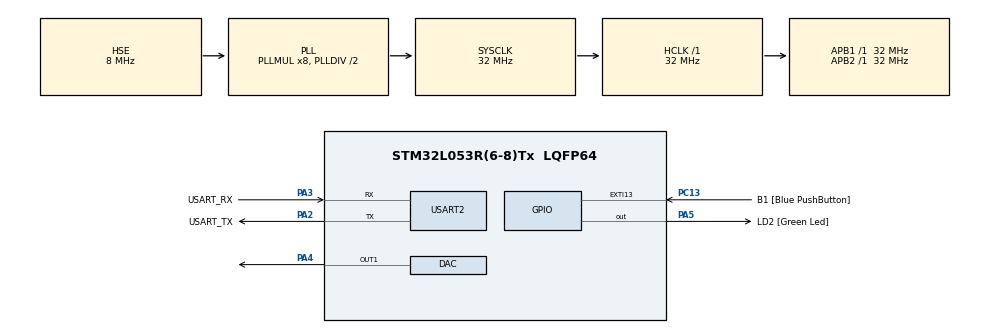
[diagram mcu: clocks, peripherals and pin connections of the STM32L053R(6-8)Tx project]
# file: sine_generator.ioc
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DAC.DAC_Trigger=DAC_TRIGGER_T2_TRGO
Dma.DAC_CH1.0.Direction=DMA_MEMORY_TO_PERIPH
Dma.DAC_CH1.0.Instance=DMA1_Channel2
Dma.DAC_CH1.0.MemDataAlignment=DMA_MDATAALIGN_WORD
Dma.DAC_CH1.0.MemInc=DMA_MINC_ENABLE
Dma.DAC_CH1.0.Mode=DMA_CIRCULAR
Dma.DAC_CH1.0.PeriphDataAlignment=DMA_PDATAALIGN_WORD
Dma.DAC_CH1.0.PeriphInc=DMA_PINC_DISABLE
Dma.DAC_CH1.0.Priority=DMA_PRIORITY_LOW
Dma.Request0=DAC_CH1
Mcu.Family=STM32L0
Mcu.Name=STM32L053R(6-8)Tx
Mcu.Package=LQFP64
NVIC.DMA1_Channel2_3_IRQn=true\:0\:0\:false\:false\:true\:false\:true\:true
PA13.GPIO_Label=TMS
PA13.Mode=Serial_Wire
PA13.Signal=SYS_SWDIO
PA14.GPIO_Label=TCK
PA14.Mode=Serial_Wire
PA14.Signal=SYS_SWCLK
PA2.GPIO_Label=USART_TX
PA2.Mode=Asynchronous
PA2.Signal=USART2_TX
PA3.GPIO_Label=USART_RX
PA3.Mode=Asynchronous
PA3.Signal=USART2_RX
PA4.Signal=COMP_DAC1_group
PA5.GPIO_Label=LD2 [Green Led]
PA5.Signal=GPIO_Output
PC13.GPIO_Label=B1 [Blue PushButton]
PC13.GPIO_ModeDefaultEXTI=GPIO_MODE_IT_FALLING
PC13.Signal=GPXTI13
PC14-OSC32_IN.Mode=LSE-External-Oscillator
PC14-OSC32_IN.Signal=RCC_OSC32_IN
PC15-OSC32_OUT.Mode=LSE-External-Oscillator
PC15-OSC32_OUT.Signal=RCC_OSC32_OUT
PH0-OSC_IN.Mode=HSE-External-Clock-Source
PH0-OSC_IN.Signal=RCC_OSC_IN
PH1-OSC_OUT.Signal=RCC_OSC_OUT
ProjectManager.HeapSize=0x200
ProjectManager.StackSize=0x400
ProjectManager.TargetToolchain=STM32CubeIDE
RCC.AHBFreq_Value=32000000
RCC.APB1Freq_Value=32000000
RCC.APB1TimFreq_Value=32000000
RCC.APB2Freq_Value=32000000
RCC.APB2TimFreq_Value=32000000
RCC.HCLKFreq_Value=32000000
RCC.HSE_VALUE=8000000
RCC.HSI16_VALUE=16000000
RCC.HSI48_VALUE=48000000
RCC.HSI_VALUE=16000000
RCC.MSI_VALUE=2097000
RCC.PLLMUL=RCC_PLLMUL_8
RCC.PLLSourceVirtual=RCC_PLLSOURCE_HSE
RCC.SYSCLKFreq_VALUE=32000000
RCC.SYSCLKSource=RCC_SYSCLKSOURCE_PLLCLK
RCC.VCOOutputFreq_Value=64000000
SH.COMP_DAC1_group.0=DAC_OUT1,DAC_OUT1
TIM2.TIM_MasterOutputTrigger=TIM_TRGO_UPDATE
USART2.VirtualMode-Asynchronous=VM_ASYNC
VP_TIM2_VS_ClockSourceINT.Mode=Internal
board=NUCLEO-L053R8

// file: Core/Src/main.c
/* USER CODE BEGIN Header */
/**
  ******************************************************************************
  * @file           : main.c
  * @brief          : Main program body
  ******************************************************************************
  * @attention
  *
  * Copyright (c) 2022 STMicroelectronics.
  * All rights reserved.
  *
  * This software is licensed under terms that can be found in the LICENSE file
  * in the root directory of this software component.
  * If no LICENSE file comes with this software, it is provided AS-IS.
  *
  ******************************************************************************
  */
/* USER CODE END Header */
#include "main.h"

/* USER CODE BEGIN Includes */
#include <stdio.h>
#include <stdlib.h>
#include <math.h>
#include <stdint.h>
#include <string.h>
/* USER CODE END Includes */

/* USER CODE BEGIN PD */
#define DEBUG
/* USER CODE END PD */

 DAC_HandleTypeDef hdac;
DMA_HandleTypeDef hdma_dac_ch1;

TIM_HandleTypeDef htim2;

UART_HandleTypeDef huart2;

/* USER CODE BEGIN PV */

//Make lookup table global
uint32_t sample_count = 1000;
uint32_t lookup_table[sample_count];

/* USER CODE END PV */

void SystemClock_Config(void);
static void MX_GPIO_Init(void);
static void MX_USART2_UART_Init(void);
static void MX_DMA_Init(void);
static void MX_TIM2_Init(void);
static void MX_DAC_Init(void);

/* USER CODE BEGIN 0 */
/****************************************************************************
 * Generate a Sine lookup table with a set resolution
 * Resolution defines how many samples are placed in one step
 * for example how many values are recorded between 0 .. 1
 ****************************************************************************/
void sineGenerator(uint32_t* table, uint32_t tableSize) {
	double steps = ((double)2*M_PI)/(double)tableSize;
	double xValue = 0;
	for(int i = 0; i < tableSize; i++, xValue += steps) {
		table[i] = (uint32_t)(sin(xValue) * 2048.0) + 2047;
	}
}

/****************************************************************************
 * All Frequency inputs in [Hz]
 ****************************************************************************/
void setupTimer(int frequency, TIM_HandleTypeDef *tim, double chipFreq, uint32_t sampleCount) {
	char msg[256];

	HAL_TIM_Base_DeInit(tim);

	double triggerFrequency = (double)frequency * (double)sampleCount;

	double arr = (double)chipFreq / triggerFrequency;
	double pre = 0;

	if(arr > 60000) {
		arr = (arr + 1) / 100.0;
		pre = 100;
		tim->Init.Prescaler = ((uint32_t)pre) - 1;
	} else {
		tim->Init.Prescaler = 0;
	}

	tim->Init.Period = ((uint32_t)arr) - 1;

	#ifdef DEBUG
		sprintf(msg, "ARR: %hu, PRE: %hu \r\n\r\n", (uint32_t)arr, (uint32_t)pre);
		HAL_UART_Transmit(&huart2, (uint8_t*)msg, strlen(msg), 100);
	#endif

	HAL_TIM_Base_Init(tim);
}

/****************************************************************************
 * Print out the values to be exported into excel
 ****************************************************************************/
void printSine(uint32_t* table, uint32_t length) {
	char msg[256];
	sprintf(msg, "x: y \r\n");
	HAL_UART_Transmit(&huart2, (uint8_t*)msg, strlen(msg), HAL_MAX_DELAY);

	for(int i = 0; i < length; i++) {
		sprintf(msg, "%hu: %i\r\n", i, (int)table[i]);

		HAL_UART_Transmit(&huart2, (uint8_t*)msg, strlen(msg), HAL_MAX_DELAY);
	}
}

/****************************************************************************
 * hdac: reference to dac handle
 * channel: which output channel of the dac
 * tim: reference to the timer which is used by this dac channel
 * frequency: desired sine frequency at the output in [Hz]
 * chipFrequency: Frequency of the STM HCLK or the Clock which controls the timer in [Hz]
 * resolution: How many steps are made between 0 .. 1 for exmaple for sine generation
 ****************************************************************************/
void waveOutput(DAC_HandleTypeDef *hdac, uint32_t Channel, TIM_HandleTypeDef *tim, uint32_t frequency, double chipFreq, uint32_t sampleCount) {
	sineGenerator(lookup_table, sampleCount);
	#ifdef DEBUG
		printSine(lookup_table, sampleCount);
	#endif
	setupTimer(frequency, tim, chipFreq, sampleCount);

	HAL_DAC_Start_DMA(hdac, Channel, (uint32_t*)lookup_table, sampleCount, DAC_ALIGN_12B_R);
	HAL_TIM_Base_Start(tim);
}
/* USER CODE END 0 */

int main(void)
{

  /* MCU Configuration--------------------------------------------------------*/

  /* Reset of all peripherals, Initializes the Flash interface and the Systick. */
  HAL_Init();

  /* Configure the system clock */
  SystemClock_Config();

  /* Initialize all configured peripherals */
  MX_GPIO_Init();
  MX_USART2_UART_Init();
  MX_DMA_Init();
  MX_TIM2_Init();
  MX_DAC_Init();
  /* USER CODE BEGIN 2 */
  uint32_t chipFreq = 32e6;
  uint32_t freq = 1000;

  waveOutput(&hdac, DAC1_CHANNEL_1, &htim2, freq, chipFreq, sample_count);

  /* USER CODE END 2 */

  /* Infinite loop */
  while (1)
  {

  }
}

void SystemClock_Config(void)
{
  RCC_OscInitTypeDef RCC_OscInitStruct = {0};
  RCC_ClkInitTypeDef RCC_ClkInitStruct = {0};
  RCC_PeriphCLKInitTypeDef PeriphClkInit = {0};

  /** Configure the main internal regulator output voltage
  */
  __HAL_PWR_VOLTAGESCALING_CONFIG(PWR_REGULATOR_VOLTAGE_SCALE1);

  /** Initializes the RCC Oscillators according to the specified parameters
  * in the RCC_OscInitTypeDef structure.
  */
  RCC_OscInitStruct.OscillatorType = RCC_OSCILLATORTYPE_HSE;
  RCC_OscInitStruct.HSEState = RCC_HSE_BYPASS;
  RCC_OscInitStruct.PLL.PLLState = RCC_PLL_ON;
  RCC_OscInitStruct.PLL.PLLSource = RCC_PLLSOURCE_HSE;
  RCC_OscInitStruct.PLL.PLLMUL = RCC_PLLMUL_8;
  RCC_OscInitStruct.PLL.PLLDIV = RCC_PLLDIV_2;
  if (HAL_RCC_OscConfig(&RCC_OscInitStruct) != HAL_OK)
  {
    Error_Handler();
  }

  /** Initializes the CPU, AHB and APB buses clocks
  */
  RCC_ClkInitStruct.ClockType = RCC_CLOCKTYPE_HCLK|RCC_CLOCKTYPE_SYSCLK
                              |RCC_CLOCKTYPE_PCLK1|RCC_CLOCKTYPE_PCLK2;
  RCC_ClkInitStruct.SYSCLKSource = RCC_SYSCLKSOURCE_PLLCLK;
  RCC_ClkInitStruct.AHBCLKDivider = RCC_SYSCLK_DIV1;
  RCC_ClkInitStruct.APB1CLKDivider = RCC_HCLK_DIV1;
  RCC_ClkInitStruct.APB2CLKDivider = RCC_HCLK_DIV1;

  if (HAL_RCC_ClockConfig(&RCC_ClkInitStruct, FLASH_LATENCY_1) != HAL_OK)
  {
    Error_Handler();
  }
  PeriphClkInit.PeriphClockSelection = RCC_PERIPHCLK_USART2;
  PeriphClkInit.Usart2ClockSelection = RCC_USART2CLKSOURCE_PCLK1;
  if (HAL_RCCEx_PeriphCLKConfig(&PeriphClkInit) != HAL_OK)
  {
    Error_Handler();
  }
}

static void MX_DAC_Init(void)
{

  DAC_ChannelConfTypeDef sConfig = {0};

  /** DAC Initialization
  */
  hdac.Instance = DAC;
  if (HAL_DAC_Init(&hdac) != HAL_OK)
  {
    Error_Handler();
  }

  /** DAC channel OUT1 config
  */
  sConfig.DAC_Trigger = DAC_TRIGGER_T2_TRGO;
  sConfig.DAC_OutputBuffer = DAC_OUTPUTBUFFER_ENABLE;
  if (HAL_DAC_ConfigChannel(&hdac, &sConfig, DAC_CHANNEL_1) != HAL_OK)
  {
    Error_Handler();
  }

}

static void MX_TIM2_Init(void)
{

  TIM_ClockConfigTypeDef sClockSourceConfig = {0};
  TIM_MasterConfigTypeDef sMasterConfig = {0};

  htim2.Instance = TIM2;
  htim2.Init.Prescaler = 0;
  htim2.Init.CounterMode = TIM_COUNTERMODE_UP;
  htim2.Init.Period = 65535;
  htim2.Init.ClockDivision = TIM_CLOCKDIVISION_DIV1;
  htim2.Init.AutoReloadPreload = TIM_AUTORELOAD_PRELOAD_DISABLE;
  if (HAL_TIM_Base_Init(&htim2) != HAL_OK)
  {
    Error_Handler();
  }
  sClockSourceConfig.ClockSource = TIM_CLOCKSOURCE_INTERNAL;
  if (HAL_TIM_ConfigClockSource(&htim2, &sClockSourceConfig) != HAL_OK)
  {
    Error_Handler();
  }
  sMasterConfig.MasterOutputTrigger = TIM_TRGO_UPDATE;
  sMasterConfig.MasterSlaveMode = TIM_MASTERSLAVEMODE_DISABLE;
  if (HAL_TIMEx_MasterConfigSynchronization(&htim2, &sMasterConfig) != HAL_OK)
  {
    Error_Handler();
  }

}

static void MX_USART2_UART_Init(void)
{

  huart2.Instance = USART2;
  huart2.Init.BaudRate = 115200;
  huart2.Init.WordLength = UART_WORDLENGTH_8B;
  huart2.Init.StopBits = UART_STOPBITS_1;
  huart2.Init.Parity = UART_PARITY_NONE;
  huart2.Init.Mode = UART_MODE_TX_RX;
  huart2.Init.HwFlowCtl = UART_HWCONTROL_NONE;
  huart2.Init.OverSampling = UART_OVERSAMPLING_16;
  huart2.Init.OneBitSampling = UART_ONE_BIT_SAMPLE_DISABLE;
  huart2.AdvancedInit.AdvFeatureInit = UART_ADVFEATURE_NO_INIT;
  if (HAL_UART_Init(&huart2) != HAL_OK)
  {
    Error_Handler();
  }

}

static void MX_DMA_Init(void)
{

  /* DMA controller clock enable */
  __HAL_RCC_DMA1_CLK_ENABLE();

  /* DMA interrupt init */
  /* DMA1_Channel2_3_IRQn interrupt configuration */
  HAL_NVIC_SetPriority(DMA1_Channel2_3_IRQn, 0, 0);
  HAL_NVIC_EnableIRQ(DMA1_Channel2_3_IRQn);

}

static void MX_GPIO_Init(void)
{
  GPIO_InitTypeDef GPIO_InitStruct = {0};

  /* GPIO Ports Clock Enable */
  __HAL_RCC_GPIOC_CLK_ENABLE();
  __HAL_RCC_GPIOH_CLK_ENABLE();
  __HAL_RCC_GPIOA_CLK_ENABLE();

  /*Configure GPIO pin Output Level */
  HAL_GPIO_WritePin(LD2_GPIO_Port, LD2_Pin, GPIO_PIN_RESET);

  /*Configure GPIO pin : B1_Pin */
  GPIO_InitStruct.Pin = B1_Pin;
  GPIO_InitStruct.Mode = GPIO_MODE_IT_FALLING;
  GPIO_InitStruct.Pull = GPIO_NOPULL;
  HAL_GPIO_Init(B1_GPIO_Port, &GPIO_InitStruct);

  /*Configure GPIO pin : LD2_Pin */
  GPIO_InitStruct.Pin = LD2_Pin;
  GPIO_InitStruct.Mode = GPIO_MODE_OUTPUT_PP;
  GPIO_InitStruct.Pull = GPIO_NOPULL;
  GPIO_InitStruct.Speed = GPIO_SPEED_FREQ_LOW;
  HAL_GPIO_Init(LD2_GPIO_Port, &GPIO_InitStruct);

}

void Error_Handler(void)
{
  __disable_irq();
  while (1)
  {
  }
}
